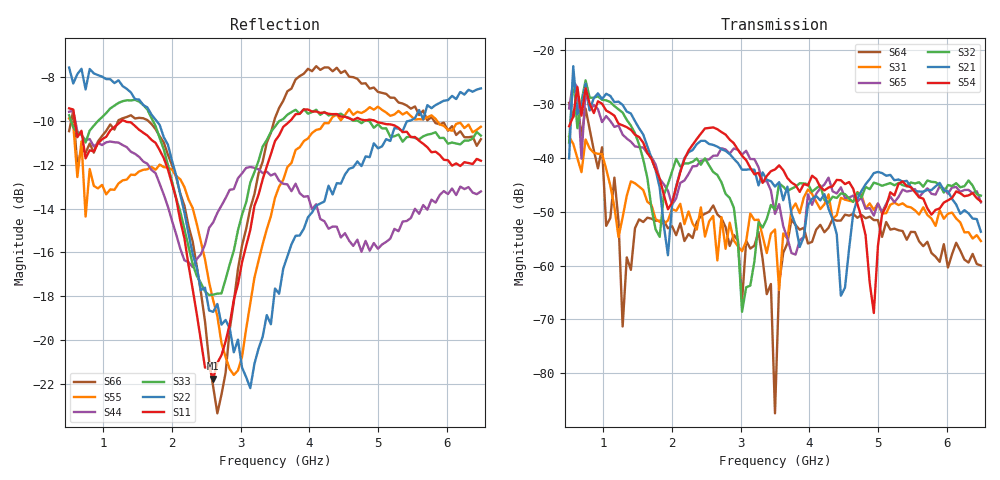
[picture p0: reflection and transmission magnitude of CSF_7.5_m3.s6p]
!Keysight Technologies,M9804A,MY58100912,A.14.10.03
!Date: Thursday, April 27, 2023 10:28:33
!Correction: S11(C  6-Port  )
!S12(C  6-Port  )
!S13(C  6-Port  )
!S14(C  6-Port  )
!S15(C  6-Port  )
!S16(C  6-Port  )
!S21(C  6-Port  )
!S22(C  6-Port  )
!S23(C  6-Port  )
!S24(C  6-Port  )
!S25(C  6-Port  )
!S26(C  6-Port  )
!S31(C  6-Port  )
!S32(C  6-Port  )
!S33(C  6-Port  )
!S34(C  6-Port  )
!S35(C  6-Port  )
!S36(C  6-Port  )
!S41(C  6-Port  )
!S42(C  6-Port  )
!S43(C  6-Port  )
!S44(C  6-Port  )
!S45(C  6-Port  )
!S46(C  6-Port  )
!S51(C  6-Port  )
!S52(C  6-Port  )
!S53(C  6-Port  )
!S54(C  6-Port  )
!S55(C  6-Port  )
!S56(C  6-Port  )
!S61(C  6-Port  )
!S62(C  6-Port  )
!S63(C  6-Port  )
!S64(C  6-Port  )
!S65(C  6-Port  )
!S66(C  6-Port  )
!S6P File: Measurement: :
# Hz S  RI  R 50
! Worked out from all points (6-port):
!   101 points, 500 MHz to 6.5 GHz, reference 50 ohm
!   strongest paths, dB at 500 MHz, 2 GHz, 3.5 GHz, 5 GHz, 6.5 GHz:
!     S54: -34.2, -48.4, -42.2, -56.3, -48.1
!     S21: -40.1, -48.8, -45.4, -42.6, -53.7
!     S32: -37.2, -42.6, -49.6, -44.9, -47.0
!     S65: -30.9, -48.7, -50.4, -48.5, -48.3
!     S31: -36.1, -49.5, -53.3, -48.5, -55.5
!     S64: -29.8, -52.7, -87.4, -51.6, -60.0
!   lowest |S11| = -21.8 dB at 2.6 GHz (marker M1), VSWR 1.18, Z = 42.7 + j1.96 ohm
!   |S11| at or under -10 dB: 584.4 MHz to 1.268 GHz (684.1 MHz wide, 73.8 % of centre); 1.302 GHz to 3.721 GHz (2.419 GHz wide, 96.3 % of centre); 4.953 GHz to end of sweep
